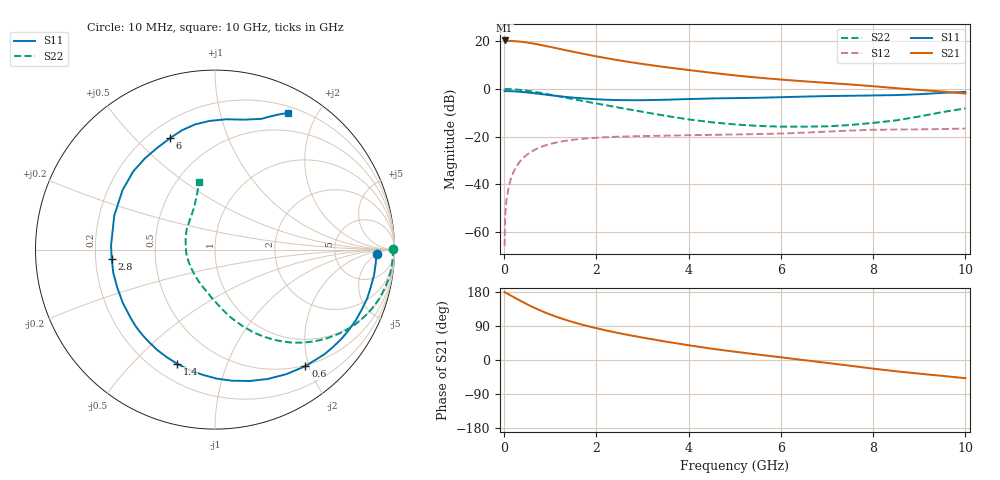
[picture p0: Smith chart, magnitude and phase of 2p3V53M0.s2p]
! (c) 2009  Infineon Technologies AG, Munich
! Infineon Technologies  Discrete & RF Semiconductors
! BFP420
! VCE =  3.5 V,  IC =  3.0 mA
! Common Emitter S-Parameters:  Nov 2009
# GHz  S  MA  R  50
!  f  S11  S21  S12  S22
! GHz  MAG  ANG  MAG  ANG  MAG  ANG  MAG  ANG
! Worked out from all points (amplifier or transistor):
!   46 points, 10 MHz to 10 GHz, reference 50 ohm
!   highest |S21| = 20.3 dB at 10 MHz (marker M1)
!   |S21| within 3 dB of that: start of sweep to 1.071 GHz
!   unconditionally stable (mu >= 1): 3.522 GHz to end of sweep
!   at 300 MHz: K = 0.07, MSG = 25.8 dB, |S12| = -31.6 dB
!   at 1.7 GHz: K = 0.44, MSG = 17.9 dB, |S12| = -20.9 dB
!   at 10 GHz: K = 1.17, MAG = 4.9 dB, |S12| = -16.6 dB
!   lowest NFmin = 0.57 dB at 900 MHz
!   S11 on the Smith chart (normalised r, x): 10 MHz: 19, -5; 600 MHz: 0.49, -1.94; 1.4 GHz: 0.29, -0.68; 2.8 GHz: 0.27, -0.04; 6 GHz: 0.28, +0.64; 10 GHz: 0.27, +1.64
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0.01  0.9043 -1.4  10.4 179.1  0.0005 61.3  0.9909 0.2
0.02  0.8982 -1.7  10.13 178.7  0.002 76.3  0.9913 -0.9
0.05  0.899 -4.5  10.16 176.5  0.0046 82.3  0.9913 -2.4
0.15  0.8928 -13.4  10.16 169.8  0.0134 81.5  0.9851 -7.4
0.3  0.8778 -26.7  9.921 159.8  0.0263 75.0  0.9633 -14.6
0.4  0.8621 -35.3  9.682 153.3  0.0344 70.4  0.9414 -19.3
0.6  0.8218 -52.2  9.072 141.0  0.0488 61.9  0.8863 -28.0
0.7  0.8 -60.1  8.723 135.3  0.0551 57.9  0.8544 -31.9
0.9  0.7572 -75.2  7.975 124.8  0.0655 50.9  0.7891 -39.1
1.2  0.7 -96.0  6.92 111.2  0.0775 42.1  0.6936 -48.4
1.4  0.6698 -108.5  6.294 103.3  0.0832 37.2  0.6361 -53.6
1.7  0.6333 -125.4  5.497 93.0  0.0898 31.2  0.5595 -60.4
1.9  0.6153 -135.6  5.028 86.8  0.093 27.7  0.5145 -64.5
2.2  0.5935 -149.7  4.45 78.3  0.0968 23.4  0.4557 -69.9
2.8  0.5778 -175.0  3.564 63.6  0.1014 16.5  0.3575 -80.3
3.5  0.5926 161.2  2.862 48.6  0.1044 10.9  0.2724 -93.2
4.5  0.6304 136.3  2.179 29.8  0.1086 5.3  0.1992 -117.3
5.5  0.6516 119.7  1.725 14.4  0.1126 1.7  0.1671 -143.5
6  0.6693 112.1  1.571 7.1  0.1156 0.4  0.1613 -158.5
7  0.7064 99.0  1.338 -7.7  0.1266 -3.2  0.1639 173.2
8.5  0.7421 77.3  1.035 -29.8  0.1403 -13.9  0.2185 129.6
10  0.8648 61.8  0.799 -48.0  0.1476 -20.8  0.3892 102.9
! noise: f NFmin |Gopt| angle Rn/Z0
0.9  0.57  0.35  33  0.18
1.8  1.02  0.2  79  0.14
2.4  1.1  0.23  104  0.14
3  1.25  0.24  144  0.11
4  1.46  0.33  -159  0.1
5  1.9  0.39  -128  0.22
6  2.46  0.48  -107  0.35
